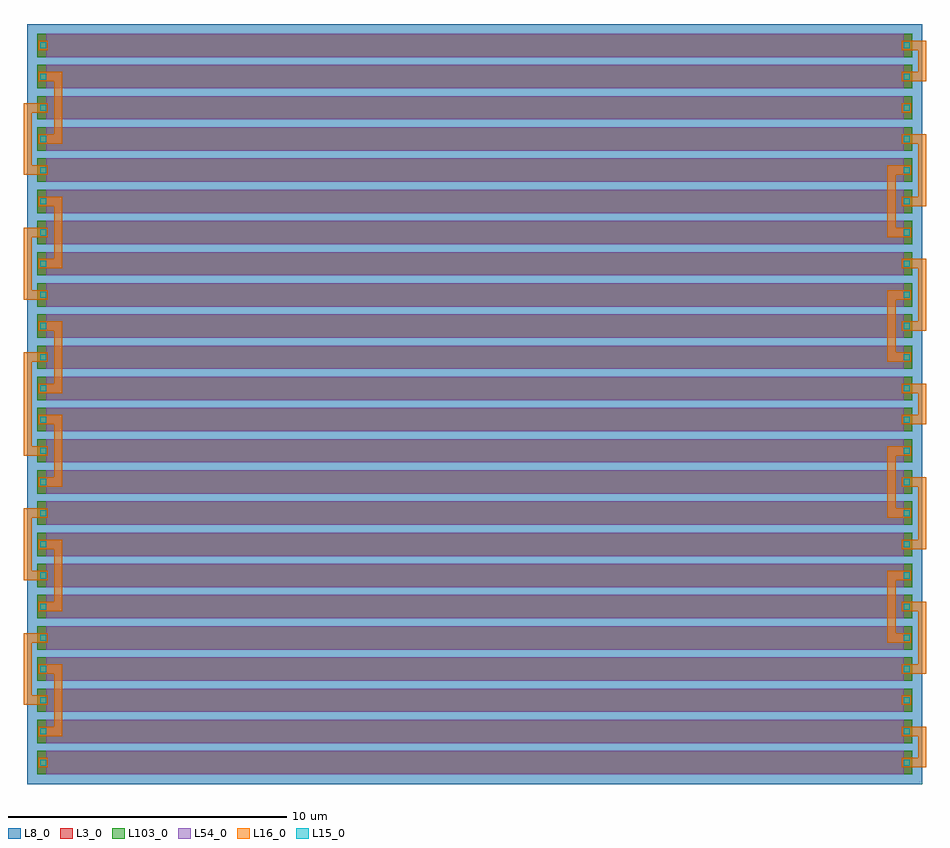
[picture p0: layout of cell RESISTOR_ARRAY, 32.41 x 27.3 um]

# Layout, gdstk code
import gdstk
lib = gdstk.Library(unit=1e-6, precision=1e-09)
def R(c, l, rs):  # rectangles x0, y0, x1, y1
    for r in rs: c.add(gdstk.rectangle(r[:2], r[2:], *l))
def A(c, l, x, y, w, h, nx, ny, dx, dy):  # array of equal rectangles
    R(c, l, [(x+i*dx, y+j*dy, x+i*dx+w, y+j*dy+h) for i in range(nx) for j in range(ny)])
L3_0 = (3, 0)
L8_0 = (8, 0)
L15_0 = (15, 0)
L16_0 = (16, 0)
L54_0 = (54, 0)
L103_0 = (103, 0)

resistor_array = lib.new_cell('RESISTOR_ARRAY')
A(resistor_array, L3_0, -0.32, 0, 31.44, 0.84, 1, 24, 0, 1.12)
A(resistor_array, L8_0, -0.67, -0.35, 32.14, 1.54, 1, 24, 0, 1.12)
A(resistor_array, L15_0, -0.22, 0.31, 0.22, 0.22, 1, 24, 0, 1.12)
A(resistor_array, L15_0, 30.8, 0.31, 0.22, 0.22, 1, 24, 0, 1.12)
A(resistor_array, L16_0, -0.28, 0.25, 0.34, 0.34, 1, 24, 0, 1.12)
A(resistor_array, L16_0, 30.74, 0.25, 0.34, 0.34, 1, 24, 0, 1.12)
A(resistor_array, L16_0, 31.32, 0.25, 0.29, 1.46, 1, 3, 0, 12.32)
A(resistor_array, L16_0, -0.28, 1.37, 0.81, 0.34, 1, 6, 0, 2.24)
A(resistor_array, L16_0, 0.29, 1.37, 0.29, 2.58, 1, 3, 0, 4.48)
A(resistor_array, L16_0, 30.8, 1.37, 0.81, 0.34, 1, 6, 0, 2.24)
A(resistor_array, L16_0, -0.51, 2.49, 0.23, 0.34, 1, 5, 0, 2.24)
A(resistor_array, L16_0, 30.51, 4.73, 0.29, 0.34, 1, 4, 0, 2.24)
A(resistor_array, L16_0, -0.28, 13.69, 0.81, 0.34, 1, 6, 0, 2.24)
A(resistor_array, L16_0, 0.29, 13.69, 0.29, 2.58, 1, 3, 0, 4.48)
A(resistor_array, L16_0, 30.8, 13.69, 0.81, 0.34, 1, 6, 0, 2.24)
A(resistor_array, L16_0, -0.51, 14.81, 0.23, 0.34, 1, 5, 0, 2.24)
A(resistor_array, L16_0, 30.51, 14.81, 0.29, 0.34, 1, 4, 0, 2.24)
R(resistor_array, L16_0, [(30.8,0.25,31.61,0.59), (-0.8,2.49,-0.51,5.07), (31.32,3.61,31.61,6.19), (30.22,4.73,30.51,7.31), (-0.8,6.97,-0.51,9.55), (31.32,8.09,31.61,10.67), (30.22,9.21,30.51,11.79), (-0.8,11.45,-0.51,15.15), (30.22,14.81,30.51,17.39), (31.32,15.93,31.61,18.51), (-0.8,17.05,-0.51,19.63), (30.22,19.29,30.51,21.87), (31.32,20.41,31.61,22.99), (-0.8,21.53,-0.51,24.11), (30.8,26.01,31.61,26.35)])
A(resistor_array, L54_0, 0, 0, 30.8, 0.84, 1, 24, 0, 1.12)
A(resistor_array, L103_0, -0.32, 0, 31.44, 0.84, 1, 24, 0, 1.12)

lib.write_gds('RESISTOR_ARRAY.gds')
